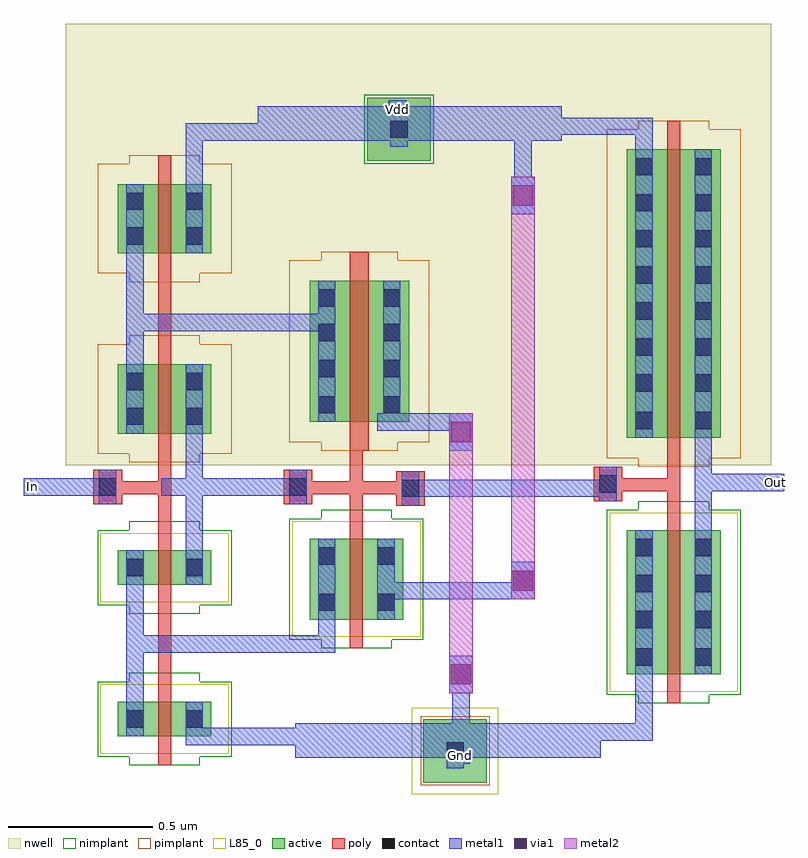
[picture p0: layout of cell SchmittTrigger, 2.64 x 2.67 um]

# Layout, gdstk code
from math import pi, radians
import gdstk
lib = gdstk.Library(unit=1e-6, precision=5e-10)
def R(c, l, rs):  # rectangles x0, y0, x1, y1
    for r in rs: c.add(gdstk.rectangle(r[:2], r[2:], *l))
def A(c, l, x, y, w, h, nx, ny, dx, dy):  # array of equal rectangles
    R(c, l, [(x+i*dx, y+j*dy, x+i*dx+w, y+j*dy+h) for i in range(nx) for j in range(ny)])
active = (1, 0)
nwell = (2, 0)
poly = (3, 0)
nimplant = (4, 0)
pimplant = (5, 0)
contact = (6, 0)
metal1 = (7, 0)
via1 = (8, 0)
metal2 = (9, 0)
L85_0 = (85, 0)

nmos1v_cdns_5 = lib.new_cell('nmos1v_CDNS_5')
R(nmos1v_cdns_5, active, [(-0.14,0,0,0.5), (0,0,0.045,0.5), (0.045,0,0.185,0.5)])
R(nmos1v_cdns_5, poly, [(0,-0.1,0.045,-0.05), (0,-0.05,0.045,0), (0,0,0.045,0.5), (0,0.5,0.045,0.55), (0,0.55,0.045,0.6)])
R(nmos1v_cdns_5, nimplant, [(-0.1,-0.1,0.145,0.6), (-0.21,-0.07,0.255,0.57)])
A(nmos1v_cdns_5, contact, -0.11, 0.16, 0.06, 0.06, 1, 3, 0, 0.125)
A(nmos1v_cdns_5, contact, 0.095, 0.16, 0.06, 0.06, 1, 3, 0, 0.125)
R(nmos1v_cdns_5, contact, [(-0.11,0.03,-0.05,0.09), (0.095,0.03,0.155,0.09)])
R(nmos1v_cdns_5, metal1, [(-0.11,0,-0.05,0.5), (0.095,0,0.155,0.5)])
R(nmos1v_cdns_5, L85_0, [(-0.2,-0.06,0.245,0.56)])

nmos1v_cdns_6 = lib.new_cell('nmos1v_CDNS_6')
R(nmos1v_cdns_6, active, [(-0.14,0,0,0.12), (0,0,0.045,0.12), (0.045,0,0.185,0.12)])
R(nmos1v_cdns_6, poly, [(0,-0.1,0.045,-0.05), (0,-0.05,0.045,0), (0,0,0.045,0.12), (0,0.12,0.045,0.17), (0,0.17,0.045,0.22)])
R(nmos1v_cdns_6, nimplant, [(-0.1,-0.1,0.145,0.22), (-0.21,-0.07,0.255,0.19)])
R(nmos1v_cdns_6, contact, [(-0.11,0.03,-0.05,0.09), (0.095,0.03,0.155,0.09)])
R(nmos1v_cdns_6, metal1, [(-0.11,0,-0.05,0.12), (0.095,0,0.155,0.12)])
R(nmos1v_cdns_6, L85_0, [(-0.2,-0.06,0.245,0.18)])

pmos1v_cdns_7 = lib.new_cell('pmos1v_CDNS_7')
R(pmos1v_cdns_7, active, [(-0.14,0,0,0.49), (0,0,0.065,0.49), (0.065,0,0.205,0.49)])
R(pmos1v_cdns_7, nwell, [(-0.2,-0.06,0.265,0.55)])
R(pmos1v_cdns_7, poly, [(0,-0.1,0.065,-0.05), (0,-0.05,0.065,0), (0,0,0.065,0.49), (0,0.49,0.065,0.54), (0,0.54,0.065,0.59)])
R(pmos1v_cdns_7, pimplant, [(-0.1,-0.1,0.165,0.59), (-0.21,-0.07,0.275,0.56)])
A(pmos1v_cdns_7, contact, -0.11, 0.03, 0.06, 0.06, 1, 3, 0, 0.125)
A(pmos1v_cdns_7, contact, 0.115, 0.03, 0.06, 0.06, 1, 3, 0, 0.125)
R(pmos1v_cdns_7, contact, [(-0.11,0.4,-0.05,0.46), (0.115,0.4,0.175,0.46)])
R(pmos1v_cdns_7, metal1, [(-0.11,0,-0.05,0.49), (0.115,0,0.175,0.49)])

pmos1v_cdns_8 = lib.new_cell('pmos1v_CDNS_8')
R(pmos1v_cdns_8, active, [(-0.14,0,0,1), (0,0,0.045,1), (0.045,0,0.185,1)])
R(pmos1v_cdns_8, nwell, [(-0.2,-0.06,0.245,1.06)])
R(pmos1v_cdns_8, poly, [(0,-0.1,0.045,-0.05), (0,-0.05,0.045,0), (0,0,0.045,1), (0,1,0.045,1.05), (0,1.05,0.045,1.1)])
R(pmos1v_cdns_8, pimplant, [(-0.1,-0.1,0.145,1.1), (-0.21,-0.07,0.255,1.07)])
A(pmos1v_cdns_8, contact, -0.11, 0.16, 0.06, 0.06, 1, 7, 0, 0.125)
A(pmos1v_cdns_8, contact, 0.095, 0.16, 0.06, 0.06, 1, 7, 0, 0.125)
R(pmos1v_cdns_8, contact, [(-0.11,0.03,-0.05,0.09), (0.095,0.03,0.155,0.09)])
R(pmos1v_cdns_8, metal1, [(-0.11,0,-0.05,1), (0.095,0,0.155,1)])

pmos1v_cdns_9 = lib.new_cell('pmos1v_CDNS_9')
R(pmos1v_cdns_9, active, [(-0.14,0,0,0.24), (0,0,0.045,0.24), (0.045,0,0.185,0.24)])
R(pmos1v_cdns_9, nwell, [(-0.2,-0.06,0.245,0.3)])
R(pmos1v_cdns_9, poly, [(0,-0.1,0.045,-0.05), (0,-0.05,0.045,0), (0,0,0.045,0.24), (0,0.24,0.045,0.29), (0,0.29,0.045,0.34)])
R(pmos1v_cdns_9, pimplant, [(-0.1,-0.1,0.145,0.34), (-0.21,-0.07,0.255,0.31)])
R(pmos1v_cdns_9, contact, [(-0.11,0.03,-0.05,0.09), (0.095,0.03,0.155,0.09), (-0.11,0.15,-0.05,0.21), (0.095,0.15,0.155,0.21)])
R(pmos1v_cdns_9, metal1, [(-0.11,0,-0.05,0.24), (0.095,0,0.155,0.24)])

nmos1v_cdns_10 = lib.new_cell('nmos1v_CDNS_10')
R(nmos1v_cdns_10, active, [(-0.14,0,0,0.28), (0,0,0.045,0.28), (0.045,0,0.185,0.28)])
R(nmos1v_cdns_10, poly, [(0,-0.1,0.045,-0.05), (0,-0.05,0.045,0), (0,0,0.045,0.28), (0,0.28,0.045,0.33), (0,0.33,0.045,0.38)])
R(nmos1v_cdns_10, nimplant, [(-0.1,-0.1,0.145,0.38), (-0.21,-0.07,0.255,0.35)])
R(nmos1v_cdns_10, contact, [(-0.11,0.03,-0.05,0.09), (0.095,0.03,0.155,0.09), (-0.11,0.19,-0.05,0.25), (0.095,0.19,0.155,0.25)])
R(nmos1v_cdns_10, metal1, [(-0.11,0,-0.05,0.28), (0.095,0,0.155,0.28)])
R(nmos1v_cdns_10, L85_0, [(-0.2,-0.06,0.245,0.34)])

m1_po_cdns_1 = lib.new_cell('M1_PO_CDNS_1')
R(m1_po_cdns_1, poly, [(-0.05,-0.06,0.05,0.06)])
R(m1_po_cdns_1, contact, [(-0.03,-0.03,0.03,0.03)])
R(m1_po_cdns_1, metal1, [(-0.03,-0.06,0.03,0.06)])

m2_m1_cdns_2 = lib.new_cell('M2_M1_CDNS_2')
R(m2_m1_cdns_2, metal1, [(-0.04,-0.065,0.04,0.065)])
R(m2_m1_cdns_2, via1, [(-0.035,-0.035,0.035,0.035)])
R(m2_m1_cdns_2, metal2, [(-0.04,-0.065,0.04,0.065)])

m1_nwell_cdns_3 = lib.new_cell('M1_NWELL_CDNS_3')
R(m1_nwell_cdns_3, active, [(-0.11,-0.11,0.11,0.11)])
R(m1_nwell_cdns_3, nwell, [(-0.15,-0.15,0.15,0.15)])
R(m1_nwell_cdns_3, nimplant, [(-0.12,-0.12,0.12,0.12)])
R(m1_nwell_cdns_3, contact, [(-0.03,-0.03,0.03,0.03)])
R(m1_nwell_cdns_3, metal1, [(-0.03,-0.06,0.03,0.06)])

m1_psub_cdns_4 = lib.new_cell('M1_PSUB_CDNS_4')
R(m1_psub_cdns_4, active, [(-0.11,-0.11,0.11,0.11)])
R(m1_psub_cdns_4, pimplant, [(-0.12,-0.12,0.12,0.12)])
R(m1_psub_cdns_4, contact, [(-0.03,-0.03,0.03,0.03)])
R(m1_psub_cdns_4, metal1, [(-0.03,-0.06,0.03,0.06)])
R(m1_psub_cdns_4, L85_0, [(-0.15,-0.15,0.15,0.15)])

schmitttrigger = lib.new_cell('SchmittTrigger')
R(schmitttrigger, nwell, [(0.38,1.39,2.825,2.92)])
R(schmitttrigger, metal1, [(1.72,0.355,1.78,0.415), (0.235,1.285,0.295,1.345), (2.81,1.3,2.87,1.36), (1.5,2.595,1.56,2.655)])
schmitttrigger.add(gdstk.FlexPath([(2.4875,1.265),(2.4875,1.3225)], 0.045, ends=(0, 0.0225), simple_path=True, layer=3, datatype=0))  # poly
schmitttrigger.add(gdstk.FlexPath([(2.26,1.3225),(2.4875,1.3225)], 0.045, ends=(0, 0.0225), simple_path=True, layer=3, datatype=0))  # poly
schmitttrigger.add(gdstk.FlexPath([(0.525,1.3125),(0.7225,1.3125)], 0.045, ends=(0, 0.0225), simple_path=True, layer=3, datatype=0))  # poly
schmitttrigger.add(gdstk.FlexPath([(0.7225,1.4),(0.7225,1.3125)], 0.045, ends=(0, 0.0225), simple_path=True, layer=3, datatype=0))  # poly
schmitttrigger.add(gdstk.FlexPath([(1.5725,1.31),(1.5725,1.3125)], 0.045, ends=(0, 0.0225), simple_path=True, layer=3, datatype=0))  # poly
schmitttrigger.add(gdstk.FlexPath([(1.3875,1.44),(1.3875,1.3125)], 0.045, ends=(0, 0.0225), simple_path=True, layer=3, datatype=0))  # poly
schmitttrigger.add(gdstk.FlexPath([(1.5725,1.3125),(1.185,1.3125)], 0.045, ends=(0.0225, 0), simple_path=True, layer=3, datatype=0))  # poly
schmitttrigger.add(gdstk.FlexPath([(1.3875,1.3125),(1.3875,1.195)], 0.045, ends=(0.0225, 0), simple_path=True, layer=3, datatype=0))  # poly
schmitttrigger.add(gdstk.FlexPath([(2.4875,1.3225),(2.4875,1.385)], 0.045, ends=(0.0225, 0), simple_path=True, layer=3, datatype=0))  # poly
schmitttrigger.add(gdstk.FlexPath([(0.7225,0.875),(0.7225,0.67)], 0.045, ends="flush", simple_path=True, layer=3, datatype=0))  # poly
schmitttrigger.add(gdstk.FlexPath([(0.7225,1.3125),(0.7225,1.195)], 0.045, ends=(0.0225, 0), simple_path=True, layer=3, datatype=0))  # poly
schmitttrigger.add(gdstk.FlexPath([(0.7225,2.025),(0.7225,1.81)], 0.045, ends="flush", simple_path=True, layer=3, datatype=0))  # poly
schmitttrigger.add(gdstk.FlexPath([(1.965,0.955),(1.965,0.99)], 0.08, ends=(0.03, 0), simple_path=True, layer=7, datatype=0))  # metal1
schmitttrigger.add(gdstk.FlexPath([(2.59,1.165),(2.59,1.33)], 0.06, ends=(0, 0.03), simple_path=True, layer=7, datatype=0))  # metal1
schmitttrigger.add(gdstk.FlexPath([(1.575,1.31),(2.26,1.31)], 0.06, ends=(0, 0.03), simple_path=True, layer=7, datatype=0))  # metal1
schmitttrigger.add(gdstk.FlexPath([(2.26,1.31),(2.26,1.325)], 0.06, ends=(0.03, 0), simple_path=True, layer=7, datatype=0))  # metal1
schmitttrigger.add(gdstk.FlexPath([(1.75,0.665),(1.75,0.435)], 0.06, ends=(0, 0.06), simple_path=True, layer=7, datatype=0))  # metal1
schmitttrigger.add(gdstk.FlexPath([(1.205,0.45),(1.205,0.435)], 0.06, ends=(0.03, 0.06), simple_path=True, layer=7, datatype=0))  # metal1
schmitttrigger.add(gdstk.FlexPath([(0.295,1.315),(0.525,1.315)], 0.06, ends="flush", simple_path=True, layer=7, datatype=0))  # metal1
schmitttrigger.add(gdstk.FlexPath([(0.825,0.45),(1.205,0.45)], 0.06, ends="extended", simple_path=True, layer=7, datatype=0))  # metal1
schmitttrigger.add(gdstk.FlexPath([(2.205,0.465),(2.385,0.465)], 0.06, ends="extended", simple_path=True, layer=7, datatype=0))  # metal1
schmitttrigger.add(gdstk.FlexPath([(2.205,0.435),(2.205,0.465)], 0.06, ends=(0.06, 0.03), simple_path=True, layer=7, datatype=0))  # metal1
schmitttrigger.add(gdstk.FlexPath([(0.825,2.545),(1.075,2.545)], 0.06, ends="extended", simple_path=True, layer=7, datatype=0))  # metal1
schmitttrigger.add(gdstk.FlexPath([(1.965,2.575),(1.965,2.325)], 0.06, ends=(0.06, 0), simple_path=True, layer=7, datatype=0))  # metal1
schmitttrigger.add(gdstk.FlexPath([(2.07,2.565),(2.07,2.575)], 0.06, ends=(0.03, 0.06), simple_path=True, layer=7, datatype=0))  # metal1
schmitttrigger.add(gdstk.FlexPath([(1.49,0.925),(1.49,0.955)], 0.06, ends=(0, 0.03), simple_path=True, layer=7, datatype=0))  # metal1
schmitttrigger.add(gdstk.FlexPath([(1.49,0.955),(1.965,0.955)], 0.06, ends=(0.03, 0.04), simple_path=True, layer=7, datatype=0))  # metal1
schmitttrigger.add(gdstk.FlexPath([(2.385,2.565),(2.07,2.565)], 0.06, ends="extended", simple_path=True, layer=7, datatype=0))  # metal1
schmitttrigger.add(gdstk.FlexPath([(1.075,2.575),(1.965,2.575)], 0.12, ends=(0.03, 0.03), simple_path=True, layer=7, datatype=0))  # metal1
schmitttrigger.add(gdstk.FlexPath([(2.385,2.485),(2.385,2.565)], 0.06, ends=(0, 0.03), simple_path=True, layer=7, datatype=0))  # metal1
schmitttrigger.add(gdstk.FlexPath([(1.75,1.54),(1.75,1.505)], 0.08, ends=(0.03, 0), simple_path=True, layer=7, datatype=0))  # metal1
schmitttrigger.add(gdstk.FlexPath([(1.46,1.54),(1.75,1.54)], 0.06, ends=(0, 0.04), simple_path=True, layer=7, datatype=0))  # metal1
schmitttrigger.add(gdstk.FlexPath([(1.315,1.885),(0.62,1.885)], 0.06, ends=(0, 0.03), simple_path=True, layer=7, datatype=0))  # metal1
schmitttrigger.add(gdstk.FlexPath([(0.825,2.365),(0.825,2.545)], 0.06, ends=(0, 0.03), simple_path=True, layer=7, datatype=0))  # metal1
schmitttrigger.add(gdstk.FlexPath([(1.205,0.435),(2.205,0.435)], 0.12, ends=(0.03, 0.03), simple_path=True, layer=7, datatype=0))  # metal1
schmitttrigger.add(gdstk.FlexPath([(2.385,0.465),(2.385,0.665)], 0.06, ends=(0.03, 0), simple_path=True, layer=7, datatype=0))  # metal1
schmitttrigger.add(gdstk.FlexPath([(2.84,1.33),(2.59,1.33)], 0.06, ends=(0, 0.03), simple_path=True, layer=7, datatype=0))  # metal1
schmitttrigger.add(gdstk.FlexPath([(0.62,2.125),(0.62,1.885)], 0.06, ends=(0, 0.03), simple_path=True, layer=7, datatype=0))  # metal1
schmitttrigger.add(gdstk.FlexPath([(0.62,1.885),(0.62,1.74)], 0.06, ends=(0.03, 0), simple_path=True, layer=7, datatype=0))  # metal1
schmitttrigger.add(gdstk.FlexPath([(1.075,2.545),(1.075,2.575)], 0.06, ends=(0.03, 0.06), simple_path=True, layer=7, datatype=0))  # metal1
schmitttrigger.add(gdstk.FlexPath([(2.07,2.575),(1.965,2.575)], 0.12, ends=(0.03, 0.03), simple_path=True, layer=7, datatype=0))  # metal1
schmitttrigger.add(gdstk.FlexPath([(1.185,1.315),(0.74,1.315)], 0.06, ends=(0, 0.03), simple_path=True, layer=7, datatype=0))  # metal1
schmitttrigger.add(gdstk.FlexPath([(0.62,0.57),(0.62,0.77)], 0.06, ends=(0, 0.03), simple_path=True, layer=7, datatype=0))  # metal1
schmitttrigger.add(gdstk.FlexPath([(0.62,0.77),(0.62,0.975)], 0.06, ends=(0.03, 0), simple_path=True, layer=7, datatype=0))  # metal1
schmitttrigger.add(gdstk.FlexPath([(1.285,0.855),(1.285,0.77)], 0.06, ends=(0, 0.03), simple_path=True, layer=7, datatype=0))  # metal1
schmitttrigger.add(gdstk.FlexPath([(2.59,1.33),(2.59,1.485)], 0.06, ends=(0.03, 0), simple_path=True, layer=7, datatype=0))  # metal1
schmitttrigger.add(gdstk.FlexPath([(0.825,1.095),(0.825,1.5)], 0.06, ends="flush", simple_path=True, layer=7, datatype=0))  # metal1
schmitttrigger.add(gdstk.FlexPath([(1.285,0.77),(0.62,0.77)], 0.06, ends="extended", simple_path=True, layer=7, datatype=0))  # metal1
schmitttrigger.add(gdstk.FlexPath([(1.965,0.99),(1.965,2.35)], 0.08, ends="flush", simple_path=True, layer=9, datatype=0))  # metal2
schmitttrigger.add(gdstk.FlexPath([(1.75,1.505),(1.75,0.665)], 0.08, ends="flush", simple_path=True, layer=9, datatype=0))  # metal2
schmitttrigger.add(gdstk.Reference(nmos1v_cdns_5, (2.465,0.665)))
schmitttrigger.add(gdstk.Reference(nmos1v_cdns_6, (0.7,0.975)))
schmitttrigger.add(gdstk.Reference(nmos1v_cdns_6, (0.745,0.45), rotation=pi, x_reflection=True))
schmitttrigger.add(gdstk.Reference(pmos1v_cdns_7, (1.365,1.54)))
schmitttrigger.add(gdstk.Reference(pmos1v_cdns_8, (2.465,1.485)))
schmitttrigger.add(gdstk.Reference(pmos1v_cdns_9, (0.7,1.5)))
schmitttrigger.add(gdstk.Reference(pmos1v_cdns_9, (0.745,2.125), rotation=pi, x_reflection=True))
schmitttrigger.add(gdstk.Reference(nmos1v_cdns_10, (1.365,0.855)))
schmitttrigger.add(gdstk.Reference(m1_po_cdns_1, (0.525,1.315)))
schmitttrigger.add(gdstk.Reference(m1_po_cdns_1, (2.26,1.325)))
schmitttrigger.add(gdstk.Reference(m1_po_cdns_1, (1.575,1.31)))
schmitttrigger.add(gdstk.Reference(m1_po_cdns_1, (1.185,1.315)))
schmitttrigger.add(gdstk.Reference(m2_m1_cdns_2, (1.965,0.99)))
schmitttrigger.add(gdstk.Reference(m2_m1_cdns_2, (1.75,1.505)))
schmitttrigger.add(gdstk.Reference(m2_m1_cdns_2, (1.965,2.325)))
schmitttrigger.add(gdstk.Reference(m2_m1_cdns_2, (1.75,0.665)))
schmitttrigger.add(gdstk.Reference(m1_nwell_cdns_3, (1.535,2.555)))
schmitttrigger.add(gdstk.Reference(m1_psub_cdns_4, (1.73,0.4)))
schmitttrigger.add(gdstk.Label('Out', (2.84,1.33), layer=7, texttype=0))
schmitttrigger.add(gdstk.Label('In', (0.265,1.315), layer=7, texttype=0))
schmitttrigger.add(gdstk.Label('Vdd', (1.53,2.625), layer=7, texttype=0))
schmitttrigger.add(gdstk.Label('Gnd', (1.75,0.385), layer=7, texttype=0))

lib.write_gds('SchmittTrigger.gds')
